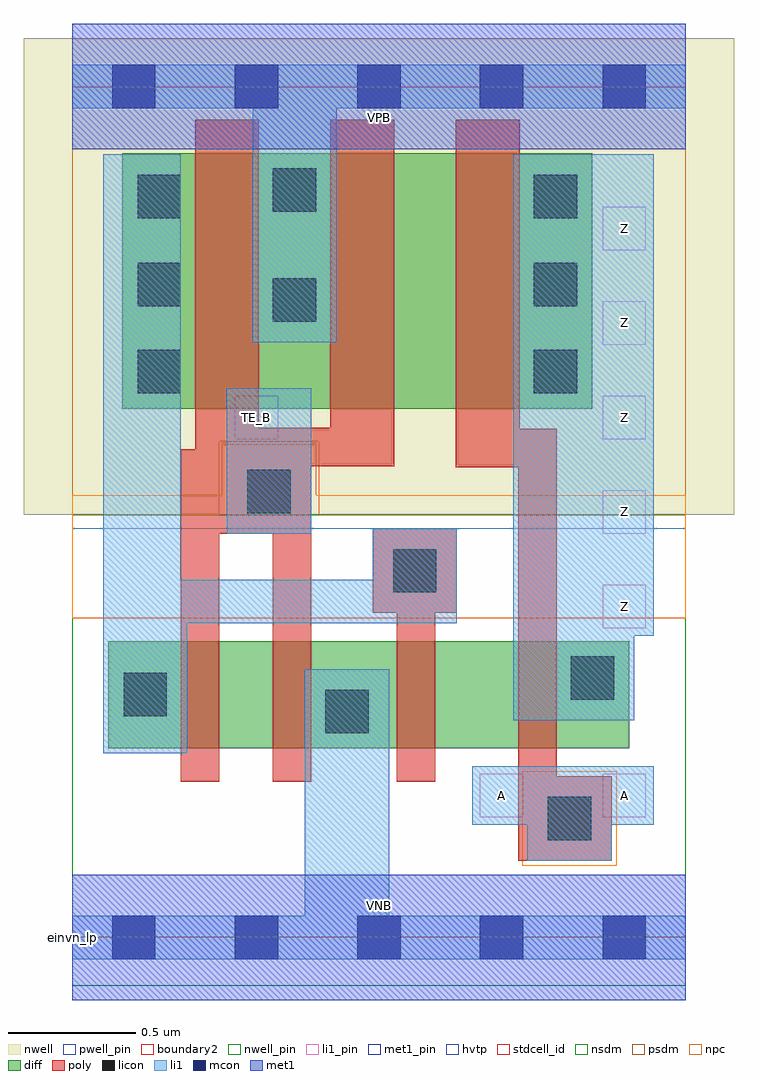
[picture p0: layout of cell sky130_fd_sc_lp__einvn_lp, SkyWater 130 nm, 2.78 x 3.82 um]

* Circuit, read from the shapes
.subckt sky130_fd_sc_lp__einvn_lp A TE_B VGND VNB VPB VPWR Z
XM1 n1 TE_B n2 VNB sky130_fd_pr__nfet_01v8 w=0.42 l=0.15
XM2 VGND TE_B n1 VNB sky130_fd_pr__nfet_01v8 w=0.42 l=0.15
XM3 n3 n2 VGND VNB sky130_fd_pr__nfet_01v8 w=0.42 l=0.15
XM4 Z A n3 VNB sky130_fd_pr__nfet_01v8 w=0.42 l=0.15
XM5 VPWR TE_B n2 VPB sky130_fd_pr__pfet_01v8_hvt w=1 l=0.25
XM6 n4 TE_B VPWR VPB sky130_fd_pr__pfet_01v8_hvt w=1 l=0.25
XM7 Z A n4 VPB sky130_fd_pr__pfet_01v8_hvt w=1 l=0.25
.ends

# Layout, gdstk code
import gdstk
lib = gdstk.Library(unit=1e-6, precision=1e-09)
def R(c, l, rs):  # rectangles x0, y0, x1, y1
    for r in rs: c.add(gdstk.rectangle(r[:2], r[2:], *l))
def A(c, l, x, y, w, h, nx, ny, dx, dy):  # array of equal rectangles
    R(c, l, [(x+i*dx, y+j*dy, x+i*dx+w, y+j*dy+h) for i in range(nx) for j in range(ny)])
def P(c, l, *ps):  # polygons
    for p in ps: c.add(gdstk.Polygon(p, *l))
nwell_pin = (64, 16)
nwell = (64, 20)
diff = (65, 20)
poly = (66, 20)
licon = (66, 44)
li1_pin = (67, 16)
li1 = (67, 20)
mcon = (67, 44)
met1_pin = (68, 16)
met1 = (68, 20)
hvtp = (78, 44)
stdcell_id = (81, 4)
nsdm = (93, 44)
psdm = (94, 20)
npc = (95, 20)
pwell_pin = (122, 16)
boundary2 = (236, 0)

sky130_fd_sc_lp__einvn_l = lib.new_cell('sky130_fd_sc_lp__einvn_lp')
R(sky130_fd_sc_lp__einvn_l, nwell_pin, [(0,3.085,2.4,3.33)])
R(sky130_fd_sc_lp__einvn_l, nwell, [(-0.19,1.655,2.59,3.52)])
R(sky130_fd_sc_lp__einvn_l, diff, [(0.14,0.74,2.18,1.16), (0.195,2.07,2.035,3.07)])
P(sky130_fd_sc_lp__einvn_l, poly, [(1.26,3.2),(1.01,3.2),(1.01,1.995),(0.73,1.995),(0.73,3.2),(0.48,3.2),(0.48,1.91),(0.425,1.91),(0.425,0.61),(0.575,0.61),(0.575,1.58),(0.785,1.58),(0.785,0.61),(0.935,0.61),(0.935,1.845),(1.26,1.845)],
  [(1.505,1.6),(1.175,1.6),(1.175,1.27),(1.27,1.27),(1.27,0.61),(1.42,0.61),(1.42,1.27),(1.505,1.27)],
  [(2.11,0.63),(1.895,0.63),(1.895,1.99),(1.75,1.99),(1.75,3.2),(1.5,3.2),(1.5,1.84),(1.745,1.84),(1.745,0.3),(2.11,0.3)])
R(sky130_fd_sc_lp__einvn_l, licon, [(1.86,0.38,2.03,0.55), (0.99,0.8,1.16,0.97), (0.2,0.865,0.37,1.035), (1.95,0.93,2.12,1.1), (1.255,1.35,1.425,1.52), (0.685,1.66,0.855,1.83), (0.255,2.13,0.425,2.3), (1.805,2.13,1.975,2.3), (0.785,2.41,0.955,2.58), (0.255,2.47,0.425,2.64), (1.805,2.47,1.975,2.64), (0.255,2.815,0.425,2.985), (1.805,2.815,1.975,2.985), (0.785,2.84,0.955,3.01)])
A(sky130_fd_sc_lp__einvn_l, li1_pin, 2.075, 1.21, 0.17, 0.17, 1, 5, 0, 0.37)
R(sky130_fd_sc_lp__einvn_l, li1_pin, [(1.595,0.47,1.765,0.64), (2.075,0.47,2.245,0.64), (0.635,1.95,0.805,2.12)])
R(sky130_fd_sc_lp__einvn_l, li1, [(0.605,1.58,0.935,2.15)])
P(sky130_fd_sc_lp__einvn_l, li1, [(0.705,2.33),(0.705,3.245),(0,3.245),(0,3.415),(2.4,3.415),(2.4,3.245),(1.035,3.245),(1.035,2.33)],
  [(0.91,0.085),(0.91,1.05),(1.24,1.05),(1.24,0.085),(2.4,0.085),(2.4,-0.085),(0,-0.085),(0,0.085)],
  [(0.12,3.065),(0.425,3.065),(0.425,1.4),(1.175,1.4),(1.175,1.6),(1.505,1.6),(1.505,1.23),(0.45,1.23),(0.45,0.72),(0.12,0.72)],
  [(1.78,0.3),(1.78,0.44),(1.565,0.44),(1.565,0.67),(2.275,0.67),(2.275,0.44),(2.11,0.44),(2.11,0.3)],
  [(1.725,3.065),(2.275,3.065),(2.275,1.18),(2.2,1.18),(2.2,0.85),(1.725,0.85)])
A(sky130_fd_sc_lp__einvn_l, mcon, 0.155, -0.085, 0.17, 0.17, 5, 2, 0.48, 3.33)
R(sky130_fd_sc_lp__einvn_l, met1_pin, [(0,0,2.4,0.245), (0,3.085,2.4,3.33)])
R(sky130_fd_sc_lp__einvn_l, met1, [(0,-0.245,2.4,0.245), (0,3.085,2.4,3.575)])
R(sky130_fd_sc_lp__einvn_l, hvtp, [(0,1.6,2.4,3.33)])
R(sky130_fd_sc_lp__einvn_l, stdcell_id, [(0,0,2.4,3.33)])
R(sky130_fd_sc_lp__einvn_l, nsdm, [(0,-0.19,2.4,1.655)])
P(sky130_fd_sc_lp__einvn_l, psdm, [(2.4,3.52),(0,3.52),(0,1.655),(0.575,1.655),(0.575,1.94),(0.965,1.94),(0.965,1.655),(2.4,1.655)])
R(sky130_fd_sc_lp__einvn_l, npc, [(1.76,0.28,2.13,0.65)])
P(sky130_fd_sc_lp__einvn_l, npc, [(2.4,1.73),(0.955,1.73),(0.955,1.93),(0.585,1.93),(0.585,1.73),(0,1.73),(0,1.25),(2.4,1.25)])
R(sky130_fd_sc_lp__einvn_l, pwell_pin, [(0,0,2.4,0.245)])
R(sky130_fd_sc_lp__einvn_l, boundary2, [(0,0,2.4,3.33)])
sky130_fd_sc_lp__einvn_l.add(gdstk.Label('VNB', (1.2,0.123), layer=64, texttype=59))
sky130_fd_sc_lp__einvn_l.add(gdstk.Label('VPB', (1.2,3.208), layer=64, texttype=5))
sky130_fd_sc_lp__einvn_l.add(gdstk.Label('einvn_lp', (0,0), layer=83, texttype=44))
sky130_fd_sc_lp__einvn_l.add(gdstk.Label('VPWR', (1.2,3.208), layer=68, texttype=5))
sky130_fd_sc_lp__einvn_l.add(gdstk.Label('VGND', (1.2,0.123), layer=68, texttype=5))
sky130_fd_sc_lp__einvn_l.add(gdstk.Label('TE_B', (0.72,2.035), layer=67, texttype=5))
sky130_fd_sc_lp__einvn_l.add(gdstk.Label('A', (1.68,0.555), layer=67, texttype=5))
sky130_fd_sc_lp__einvn_l.add(gdstk.Label('A', (2.16,0.555), layer=67, texttype=5))
sky130_fd_sc_lp__einvn_l.add(gdstk.Label('Z', (2.16,1.295), layer=67, texttype=5))
sky130_fd_sc_lp__einvn_l.add(gdstk.Label('Z', (2.16,1.665), layer=67, texttype=5))
sky130_fd_sc_lp__einvn_l.add(gdstk.Label('Z', (2.16,2.035), layer=67, texttype=5))
sky130_fd_sc_lp__einvn_l.add(gdstk.Label('Z', (2.16,2.405), layer=67, texttype=5))
sky130_fd_sc_lp__einvn_l.add(gdstk.Label('Z', (2.16,2.775), layer=67, texttype=5))

lib.write_gds('sky130_fd_sc_lp__einvn_lp.gds')
